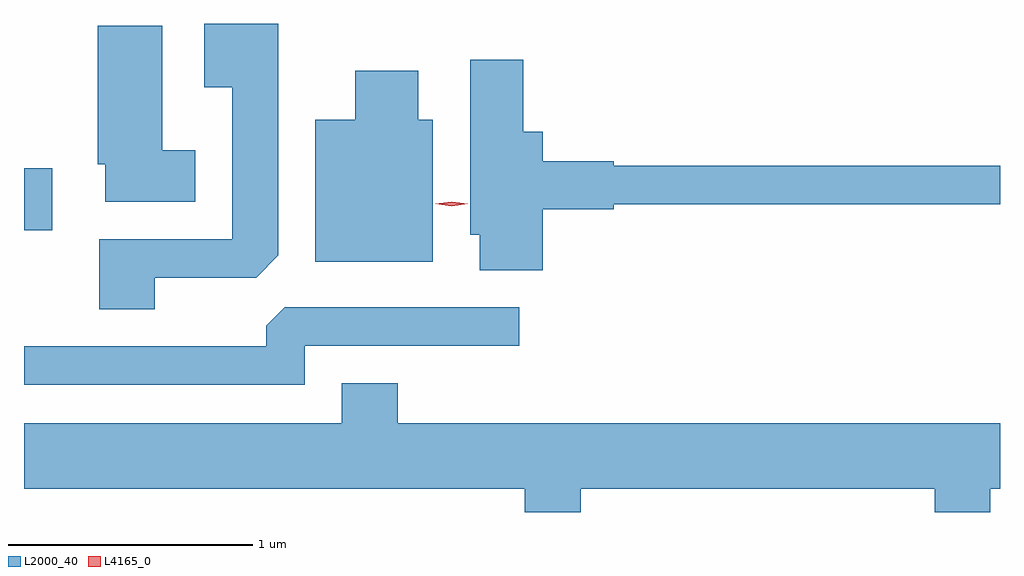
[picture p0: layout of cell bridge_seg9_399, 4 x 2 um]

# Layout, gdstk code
import gdstk
lib = gdstk.Library(unit=1e-6, precision=1e-09)
def R(c, l, rs):  # rectangles x0, y0, x1, y1
    for r in rs: c.add(gdstk.rectangle(r[:2], r[2:], *l))
def P(c, l, *ps):  # polygons
    for p in ps: c.add(gdstk.Polygon(p, *l))
L2000_40 = (2000, 40)
L4165_0 = (4165, 0)

bridge_seg9_399 = lib.new_cell('bridge_seg9_399')
R(bridge_seg9_399, L2000_40, [(530.538,2081.676,530.654,2081.929)])
P(bridge_seg9_399, L2000_40, [(531.074,2081.481),(531.489,2081.481),(531.579,2081.572),(531.579,2082.522),(531.276,2082.522),(531.276,2082.261),(531.391,2082.261),(531.391,2081.639),(530.846,2081.639),(530.846,2081.351),(531.074,2081.351)],
  [(531.239,2082.004),(531.104,2082.004),(531.104,2082.514),(530.841,2082.514),(530.841,2081.946),(530.871,2081.946),(530.871,2081.791),(531.239,2081.791)],
  [(532.664,2081.761),(532.954,2081.761),(532.954,2081.781),(534.538,2081.781),(534.538,2081.939),(532.954,2081.939),(532.954,2081.959),(532.664,2081.959),(532.664,2082.079),(532.584,2082.079),(532.584,2082.374),(532.366,2082.374),(532.366,2081.656),(532.406,2081.656),(532.406,2081.511),(532.664,2081.511)],
  [(532.214,2082.129),(532.154,2082.129),(532.154,2082.329),(531.896,2082.329),(531.896,2082.129),(531.731,2082.129),(531.731,2081.546),(532.214,2081.546)],
  [(531.689,2081.201),(532.568,2081.201),(532.568,2081.359),(531.607,2081.359),(531.531,2081.284),(531.531,2081.199),(530.538,2081.199),(530.538,2081.041),(531.689,2081.041)],
  [(532.819,2080.616),(534.271,2080.616),(534.271,2080.519),(534.499,2080.519),(534.499,2080.616),(534.538,2080.616),(534.538,2080.884),(532.069,2080.884),(532.069,2081.049),(531.841,2081.049),(531.841,2080.884),(530.538,2080.884),(530.538,2080.616),(532.591,2080.616),(532.591,2080.519),(532.819,2080.519)])
P(bridge_seg9_399, L4165_0, [(532.291,2081.773),(532.224,2081.783),(532.224,2081.783),(532.224,2081.784),(532.291,2081.793),(532.357,2081.784),(532.357,2081.783),(532.357,2081.783)])

lib.write_gds('bridge_seg9_399.gds')
